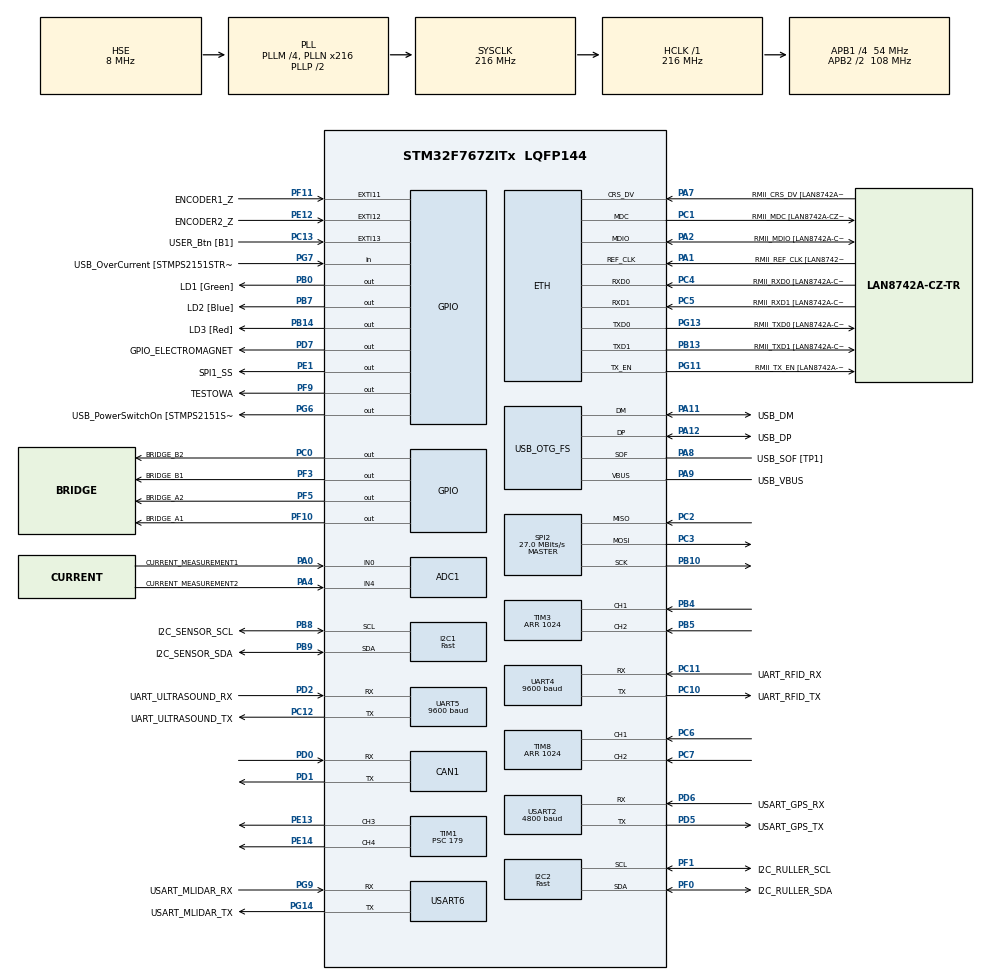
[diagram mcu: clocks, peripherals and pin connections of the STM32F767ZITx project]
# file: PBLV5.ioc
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ADC1.Channel-1\#ChannelRegularConversion=ADC_CHANNEL_0
ADC1.Channel-2\#ChannelRegularConversion=ADC_CHANNEL_4
ADC1.ClockPrescaler=ADC_CLOCK_SYNC_PCLK_DIV8
ADC1.ContinuousConvMode=ENABLE
ADC1.DMAContinuousRequests=ENABLE
ADC1.EnableAnalogWatchDog=false
ADC1.InjNumberOfConversion=0
ADC1.NbrOfConversion=2
ADC1.NbrOfConversionFlag=1
ADC1.Rank-1\#ChannelRegularConversion=1
ADC1.Rank-2\#ChannelRegularConversion=2
ADC1.SamplingTime-1\#ChannelRegularConversion=ADC_SAMPLETIME_480CYCLES
ADC1.SamplingTime-2\#ChannelRegularConversion=ADC_SAMPLETIME_480CYCLES
ADC1.ScanConvMode=ADC_SCAN_ENABLE
ADC1.master=1
CAN1.BS1=CAN_BS1_4TQ
CAN1.BS2=CAN_BS2_2TQ
CAN1.CalculateTimeQuantum=296.2962962962963
Dma.ADC1.4.Direction=DMA_PERIPH_TO_MEMORY
Dma.ADC1.4.FIFOMode=DMA_FIFOMODE_DISABLE
Dma.ADC1.4.Instance=DMA2_Stream4
Dma.ADC1.4.MemDataAlignment=DMA_MDATAALIGN_HALFWORD
Dma.ADC1.4.MemInc=DMA_MINC_ENABLE
Dma.ADC1.4.Mode=DMA_CIRCULAR
Dma.ADC1.4.PeriphDataAlignment=DMA_PDATAALIGN_HALFWORD
Dma.ADC1.4.PeriphInc=DMA_PINC_DISABLE
Dma.ADC1.4.Priority=DMA_PRIORITY_MEDIUM
Dma.Request0=UART4_RX
Dma.Request1=UART5_RX
Dma.Request2=USART2_RX
Dma.Request3=USART6_RX
Dma.Request4=ADC1
Dma.UART4_RX.0.Direction=DMA_PERIPH_TO_MEMORY
Dma.UART4_RX.0.FIFOMode=DMA_FIFOMODE_DISABLE
Dma.UART4_RX.0.Instance=DMA1_Stream2
Dma.UART4_RX.0.MemDataAlignment=DMA_MDATAALIGN_BYTE
Dma.UART4_RX.0.MemInc=DMA_MINC_ENABLE
Dma.UART4_RX.0.Mode=DMA_CIRCULAR
Dma.UART4_RX.0.PeriphDataAlignment=DMA_PDATAALIGN_BYTE
Dma.UART4_RX.0.PeriphInc=DMA_PINC_DISABLE
Dma.UART4_RX.0.Priority=DMA_PRIORITY_LOW
Dma.UART5_RX.1.Direction=DMA_PERIPH_TO_MEMORY
Dma.UART5_RX.1.FIFOMode=DMA_FIFOMODE_DISABLE
Dma.UART5_RX.1.Instance=DMA1_Stream0
Dma.UART5_RX.1.MemDataAlignment=DMA_MDATAALIGN_BYTE
Dma.UART5_RX.1.MemInc=DMA_MINC_ENABLE
Dma.UART5_RX.1.Mode=DMA_CIRCULAR
Dma.UART5_RX.1.PeriphDataAlignment=DMA_PDATAALIGN_BYTE
Dma.UART5_RX.1.PeriphInc=DMA_PINC_DISABLE
Dma.UART5_RX.1.Priority=DMA_PRIORITY_LOW
Dma.USART2_RX.2.Direction=DMA_PERIPH_TO_MEMORY
Dma.USART2_RX.2.FIFOMode=DMA_FIFOMODE_DISABLE
Dma.USART2_RX.2.Instance=DMA1_Stream5
Dma.USART2_RX.2.MemDataAlignment=DMA_MDATAALIGN_BYTE
Dma.USART2_RX.2.MemInc=DMA_MINC_ENABLE
Dma.USART2_RX.2.Mode=DMA_CIRCULAR
Dma.USART2_RX.2.PeriphDataAlignment=DMA_PDATAALIGN_BYTE
Dma.USART2_RX.2.PeriphInc=DMA_PINC_DISABLE
Dma.USART2_RX.2.Priority=DMA_PRIORITY_LOW
Dma.USART6_RX.3.Direction=DMA_PERIPH_TO_MEMORY
Dma.USART6_RX.3.FIFOMode=DMA_FIFOMODE_DISABLE
Dma.USART6_RX.3.Instance=DMA2_Stream1
Dma.USART6_RX.3.MemDataAlignment=DMA_MDATAALIGN_BYTE
Dma.USART6_RX.3.MemInc=DMA_MINC_ENABLE
Dma.USART6_RX.3.Mode=DMA_CIRCULAR
Dma.USART6_RX.3.PeriphDataAlignment=DMA_PDATAALIGN_BYTE
Dma.USART6_RX.3.PeriphInc=DMA_PINC_DISABLE
Dma.USART6_RX.3.Priority=DMA_PRIORITY_LOW
ETH.AutoNegotiation=ETH_AUTONEGOTIATION_ENABLE
ETH.MediaInterface=ETH_MEDIA_INTERFACE_RMII
ETH.PHY_Name=LAN8742A_PHY_ADDRESS
ETH.PHY_Value=0
ETH.PhyAddress=0
I2C1.I2C_Speed_Mode=I2C_Fast
I2C1.Timing=0x6000030D
I2C2.I2C_Speed_Mode=I2C_Fast
I2C2.Timing=0x6000030D
LWIP.GATEWAY_ADDRESS=172.017.010.001
LWIP.IP_ADDRESS=172.017.010.002
LWIP.LWIP_DHCP=0
LWIP.LWIP_NETIF_STATUS_CALLBACK=1
LWIP.MEMP_NUM_PBUF=32
LWIP.MEMP_NUM_TCP_SEG=32
LWIP.MEM_SIZE=48512
LWIP.NETMASK_ADDRESS=255.255.255.000
LWIP.PBUF_POOL_SIZE=32
LWIP.TCP_MSS=1460
LWIP.TCP_WND=5840
LWIP.Version=v2.1.2_Cube
Mcu.Family=STM32F7
Mcu.Name=STM32F767ZITx
Mcu.Package=LQFP144
NVIC.CAN1_RX0_IRQn=true\:0\:0\:false\:false\:true\:true\:true
NVIC.CAN1_TX_IRQn=true\:0\:0\:false\:false\:true\:true\:true
NVIC.DMA1_Stream0_IRQn=true\:0\:0\:false\:false\:true\:false\:true
NVIC.DMA1_Stream2_IRQn=true\:0\:0\:false\:false\:true\:false\:true
NVIC.DMA1_Stream5_IRQn=true\:0\:0\:false\:false\:true\:false\:true
NVIC.DMA2_Stream1_IRQn=true\:0\:0\:false\:false\:true\:false\:true
NVIC.DMA2_Stream4_IRQn=true\:0\:0\:false\:false\:true\:false\:true
NVIC.EXTI15_10_IRQn=true\:0\:0\:false\:false\:true\:true\:true
NVIC.PriorityGroup=NVIC_PRIORITYGROUP_4
NVIC.TIM1_BRK_TIM9_IRQn=true\:0\:0\:false\:false\:true\:true\:true
NVIC.TIM1_TRG_COM_TIM11_IRQn=true\:0\:0\:false\:false\:true\:true\:true
NVIC.TIM1_UP_TIM10_IRQn=true\:0\:0\:false\:false\:true\:true\:true
NVIC.TIM6_DAC_IRQn=true\:0\:0\:false\:false\:true\:true\:true
NVIC.TIM7_IRQn=true\:0\:0\:false\:false\:true\:true\:true
NVIC.TIM8_BRK_TIM12_IRQn=true\:0\:0\:false\:false\:true\:true\:true
NVIC.TIM8_TRG_COM_TIM14_IRQn=true\:0\:0\:false\:false\:true\:true\:true
NVIC.TIM8_UP_TIM13_IRQn=true\:0\:0\:false\:false\:true\:true\:true
NVIC.UART4_IRQn=true\:0\:0\:false\:false\:true\:true\:true
NVIC.UART5_IRQn=true\:0\:0\:false\:false\:true\:true\:true
NVIC.USART2_IRQn=true\:0\:0\:false\:false\:true\:true\:true
NVIC.USART6_IRQn=true\:0\:0\:false\:false\:true\:true\:true
PA0/WKUP.GPIO_Label=CURRENT_MEASUREMENT1
PA0/WKUP.Signal=ADCx_IN0
PA1.GPIO_Label=RMII_REF_CLK [LAN8742A-CZ-TR_REFCLK0]
PA1.GPIO_Speed=GPIO_SPEED_FREQ_VERY_HIGH
PA1.Mode=RMII
PA1.Signal=ETH_REF_CLK
PA10.GPIO_Label=USB_ID
PA10.Signal=USB_OTG_FS_ID
PA11.GPIO_Label=USB_DM
PA11.Mode=Device_Only
PA11.Signal=USB_OTG_FS_DM
PA12.GPIO_Label=USB_DP
PA12.Mode=Device_Only
PA12.Signal=USB_OTG_FS_DP
PA13.GPIO_Label=TMS
PA13.Mode=Trace_Asynchronous_SW
PA13.Signal=SYS_JTMS-SWDIO
PA14.GPIO_Label=TCK
PA14.Mode=Trace_Asynchronous_SW
PA14.Signal=SYS_JTCK-SWCLK
PA2.GPIO_Label=RMII_MDIO [LAN8742A-CZ-TR_MDIO]
PA2.Mode=RMII
PA2.Signal=ETH_MDIO
PA4.GPIO_Label=CURRENT_MEASUREMENT2
PA4.GPIO_PuPd=GPIO_NOPULL
PA4.Signal=ADCx_IN4
PA7.GPIO_Label=RMII_CRS_DV [LAN8742A-CZ-TR_CRS_DV]
PA7.Mode=RMII
PA7.Signal=ETH_CRS_DV
PA8.GPIO_Label=USB_SOF [TP1]
PA8.Mode=Activate_SOF_FS
PA8.Signal=USB_OTG_FS_SOF
PA9.GPIO_Label=USB_VBUS
PA9.Mode=Activate_VBUS
PA9.Signal=USB_OTG_FS_VBUS
PB0.GPIO_Label=LD1 [Green]
PB0.Signal=GPIO_Output
PB10.Mode=Full_Duplex_Master
PB10.Signal=SPI2_SCK
PB13.GPIO_Label=RMII_TXD1 [LAN8742A-CZ-TR_TXD1]
PB13.Mode=RMII
PB13.Signal=ETH_TXD1
PB14.GPIO_Label=LD3 [Red]
PB14.Signal=GPIO_Output
PB3.GPIO_Label=SWO
PB3.Mode=Trace_Asynchronous_SW
PB3.Signal=SYS_JTDO-SWO
PB4.Signal=S_TIM3_CH1
PB5.Signal=S_TIM3_CH2
PB7.GPIO_Label=LD2 [Blue]
PB7.Signal=GPIO_Output
PB8.GPIO_Label=I2C_SENSOR_SCL
PB8.Mode=I2C
PB8.Signal=I2C1_SCL
PB9.GPIO_Label=I2C_SENSOR_SDA
PB9.Mode=I2C
PB9.Signal=I2C1_SDA
PC0.GPIO_Label=BRIDGE_B2
PC0.Signal=GPIO_Output
PC1.GPIO_Label=RMII_MDC [LAN8742A-CZ-TR_MDC]
PC1.Mode=RMII
PC1.Signal=ETH_MDC
PC10.GPIO_Label=UART_RFID_TX
PC10.Mode=Asynchronous
PC10.Signal=UART4_TX
PC11.GPIO_Label=UART_RFID_RX
PC11.Mode=Asynchronous
PC11.Signal=UART4_RX
PC12.GPIO_Label=UART_ULTRASOUND_TX
PC12.Mode=Asynchronous
PC12.Signal=UART5_TX
PC13.GPIO_Label=USER_Btn [B1]
PC13.GPIO_ModeDefaultEXTI=GPIO_MODE_IT_RISING_FALLING
PC13.GPIO_PuPd=GPIO_NOPULL
PC13.Signal=GPXTI13
PC14/OSC32_IN.Signal=RCC_OSC32_IN
PC15/OSC32_OUT.Signal=RCC_OSC32_OUT
PC2.Mode=Full_Duplex_Master
PC2.Signal=SPI2_MISO
PC3.Mode=Full_Duplex_Master
PC3.Signal=SPI2_MOSI
PC4.GPIO_Label=RMII_RXD0 [LAN8742A-CZ-TR_RXD0]
PC4.Mode=RMII
PC4.Signal=ETH_RXD0
PC5.GPIO_Label=RMII_RXD1 [LAN8742A-CZ-TR_RXD1]
PC5.Mode=RMII
PC5.Signal=ETH_RXD1
PC6.Signal=S_TIM8_CH1
PC7.Signal=S_TIM8_CH2
PD0.Mode=Master
PD0.Signal=CAN1_RX
PD1.Mode=Master
PD1.Signal=CAN1_TX
PD2.GPIO_Label=UART_ULTRASOUND_RX
PD2.Mode=Asynchronous
PD2.Signal=UART5_RX
PD5.GPIO_Label=USART_GPS_TX
PD5.Mode=Asynchronous
PD5.Signal=USART2_TX
PD6.GPIO_Label=USART_GPS_RX
PD6.Mode=Asynchronous
PD6.Signal=USART2_RX
PD7.GPIO_Label=GPIO_ELECTROMAGNET
PD7.Signal=GPIO_Output
PD8.GPIO_Label=STLK_RX [STM32F103CBT6_PA3]
PD8.Signal=USART3_TX
PD9.GPIO_Label=STLK_TX [STM32F103CBT6_PA2]
PD9.Signal=USART3_RX
PE1.GPIO_Label=SPI1_SS
PE1.Signal=GPIO_Output
PE12.GPIO_Label=ENCODER2_Z
PE12.GPIO_PuPd=GPIO_PULLUP
PE12.Signal=GPXTI12
PE13.Signal=S_TIM1_CH3
PE14.Signal=S_TIM1_CH4
PF0.GPIO_Label=I2C_RULLER_SDA
PF0.Mode=I2C
PF0.Signal=I2C2_SDA
PF1.GPIO_Label=I2C_RULLER_SCL
PF1.Mode=I2C
PF1.Signal=I2C2_SCL
PF10.GPIO_Label=BRIDGE_A1
PF10.Signal=GPIO_Output
PF11.GPIO_Label=ENCODER1_Z
PF11.GPIO_PuPd=GPIO_PULLUP
PF11.Signal=GPXTI11
PF3.GPIO_Label=BRIDGE_B1
PF3.Signal=GPIO_Output
PF5.GPIO_Label=BRIDGE_A2
PF5.Signal=GPIO_Output
PF9.GPIO_Label=TESTOWA
PF9.GPIO_ModeDefaultOutputPP=GPIO_MODE_OUTPUT_PP
PF9.GPIO_PuPd=GPIO_PULLDOWN
PF9.PinState=GPIO_PIN_RESET
PF9.Signal=GPIO_Output
PG11.GPIO_Label=RMII_TX_EN [LAN8742A-CZ-TR_TXEN]
PG11.Mode=RMII
PG11.Signal=ETH_TX_EN
PG13.GPIO_Label=RMII_TXD0 [LAN8742A-CZ-TR_TXD0]
PG13.Mode=RMII
PG13.Signal=ETH_TXD0
PG14.GPIO_Label=USART_MLIDAR_TX
PG14.Mode=Asynchronous
PG14.Signal=USART6_TX
PG6.GPIO_Label=USB_PowerSwitchOn [STMPS2151STR_EN]
PG6.Signal=GPIO_Output
PG7.GPIO_Label=USB_OverCurrent [STMPS2151STR_FAULT]
PG7.Signal=GPIO_Input
PG9.GPIO_Label=USART_MLIDAR_RX
PG9.Mode=Asynchronous
PG9.Signal=USART6_RX
PH0/OSC_IN.GPIO_Label=MCO [STM32F103CBT6_PA8]
PH0/OSC_IN.Mode=HSE-External-Clock-Source
PH0/OSC_IN.Signal=RCC_OSC_IN
PH1/OSC_OUT.Mode=HSE-External-Clock-Source
PH1/OSC_OUT.Signal=RCC_OSC_OUT
ProjectManager.HeapSize=0x200
ProjectManager.StackSize=0x800
ProjectManager.TargetToolchain=STM32CubeIDE
RCC.48MHZClocksFreq_Value=24000000
RCC.AHBFreq_Value=216000000
RCC.APB1CLKDivider=RCC_HCLK_DIV4
RCC.APB1Freq_Value=54000000
RCC.APB1TimFreq_Value=108000000
RCC.APB2CLKDivider=RCC_HCLK_DIV2
RCC.APB2Freq_Value=108000000
RCC.APB2TimFreq_Value=216000000
RCC.CortexFreq_Value=216000000
RCC.HCLKFreq_Value=216000000
RCC.HSE_VALUE=8000000
RCC.HSI_VALUE=16000000
RCC.LSE_VALUE=32768
RCC.PLLM=4
RCC.PLLMUL=RCC_PLL_MUL9
RCC.PLLN=216
RCC.PLLQ=9
RCC.PRESCALERUSB=RCC_USBCLKSOURCE_PLL_DIV1_5
RCC.SYSCLKFreq_VALUE=216000000
RCC.SYSCLKSource=RCC_SYSCLKSOURCE_PLLCLK
RCC.SYSCLKSourceVirtual=RCC_SYSCLKSOURCE_PLLCLK
RCC.USBFreq_Value=48000000
RCC.VCOOutputFreq_Value=432000000
SH.ADCx_IN0.0=ADC1_IN0,IN0
SH.ADCx_IN4.0=ADC1_IN4,IN4
SH.S_TIM1_CH3.0=TIM1_CH3,PWM Generation3 CH3
SH.S_TIM1_CH4.0=TIM1_CH4,PWM Generation4 CH4
SH.S_TIM3_CH1.0=TIM3_CH1,Encoder_Interface
SH.S_TIM3_CH2.0=TIM3_CH2,Encoder_Interface
SH.S_TIM8_CH1.0=TIM8_CH1,Encoder_Interface
SH.S_TIM8_CH2.0=TIM8_CH2,Encoder_Interface
SPI2.BaudRatePrescaler=SPI_BAUDRATEPRESCALER_2
SPI2.CalculateBaudRate=27.0 MBits/s
SPI2.DataSize=SPI_DATASIZE_8BIT
SPI2.Direction=SPI_DIRECTION_2LINES
SPI2.Mode=SPI_MODE_MASTER
SPI2.VirtualType=VM_MASTER
TIM1.Channel-PWM\ Generation3\ CH3=TIM_CHANNEL_3
TIM1.Channel-PWM\ Generation4\ CH4=TIM_CHANNEL_4
TIM1.Period=1199
TIM1.Prescaler=179
TIM1.Pulse-PWM\ Generation3\ CH3=1500
TIM1.Pulse-PWM\ Generation4\ CH4=1500
TIM10.Period=119
TIM10.Prescaler=17999
TIM11.Period=119
TIM11.Prescaler=17999
TIM12.Period=239
TIM12.Prescaler=8999
TIM13.Period=119
TIM13.Prescaler=8999
TIM14.Period=9999
TIM14.Prescaler=2399
TIM3.EncoderMode=TIM_ENCODERMODE_TI12
TIM3.IC1Filter=15
TIM3.IC1Polarity=TIM_ICPOLARITY_RISING
TIM3.IC2Filter=15
TIM3.IC2Polarity=TIM_ICPOLARITY_RISING
TIM3.Period=1024
TIM6.Period=1199
TIM6.Prescaler=899
TIM7.Period=9999
TIM7.Prescaler=10799
TIM7.TIM_MasterOutputTrigger=TIM_TRGO_RESET
TIM8.EncoderMode=TIM_ENCODERMODE_TI12
TIM8.IC1Filter=15
TIM8.IC1Polarity=TIM_ICPOLARITY_RISING
TIM8.IC2Filter=15
TIM8.IC2Polarity=TIM_ICPOLARITY_RISING
TIM8.Period=1024
TIM9.Period=119
TIM9.Prescaler=17999
UART4.BaudRate=9600
UART4.Mode=MODE_RX
UART5.BaudRate=9600
USART2.BaudRate=4800
USART2.VirtualMode-Asynchronous=VM_ASYNC
USART6.VirtualMode-Asynchronous=VM_ASYNC
USB_OTG_FS.VirtualMode=Device_Only
VP_LWIP_VS_Enabled.Mode=Enabled
VP_TIM10_VS_ClockSourceINT.Mode=Enable_Timer
VP_TIM11_VS_ClockSourceINT.Mode=Enable_Timer
VP_TIM12_VS_ClockSourceINT.Mode=Internal
VP_TIM13_VS_ClockSourceINT.Mode=Enable_Timer
VP_TIM14_VS_ClockSourceINT.Mode=Enable_Timer
VP_TIM1_VS_ClockSourceINT.Mode=Internal
VP_TIM6_VS_ClockSourceINT.Mode=Enable_Timer
VP_TIM7_VS_ClockSourceINT.Mode=Enable_Timer
VP_TIM9_VS_ClockSourceINT.Mode=Internal
board=NUCLEO-F767ZI

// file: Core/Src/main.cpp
/* USER CODE BEGIN Header */
/**
  ******************************************************************************
  * @file           : main.c
  * @brief          : Main program body
  ******************************************************************************
  * @attention
  *
  * <h2><center>&copy; Copyright (c) 2020 STMicroelectronics.
  * All rights reserved.</center></h2>
  *
  * This software component is licensed by ST under BSD 3-Clause license,
  * the "License"; You may not use this file except in compliance with the
  * License. You may obtain a copy of the License at:
  *                        opensource.org/licenses/BSD-3-Clause
  *
  ******************************************************************************
  */
/* USER CODE END Header */
#include "main.h"
#include "lwip.h"

/* USER CODE BEGIN Includes */

#include "EncoderSystem.h"
#include "DrivingSystem.h"
#include "IMUSensor.h"
#include "RulerSensor.h"
#include "DataPtrVolumePair.h"
#include "DataManagement.h"
#include "tcp_server.h"
#include "tcp_client.h"
#include "udp_client.h"
#include "TimerConfigurator.h"
#include "GPSManager.h"
#include "MiniLidarManager.h"
#include "TimeSync.h"
#include "CANLidar.h"
#include "RFIDManager.h"
#include "Electromagnet.h"
#include "TimeMeasurementSystem.h"
#include "UltrasoundManager.h"
#include "CurrentMeasurement.h"
#include "globalDefines.h"

extern "C" void UART_GPS_RX_PROCESSING(void);
extern "C" void UART_LIDAR_RX_PROCESSING(void);
extern "C" void UART_RFID_RX_PROCESSING(void);
extern "C" void UART_ULTRASOUND_RX_PROCESSING(void);

/* USER CODE END Includes */

/* USER CODE BEGIN PD */

#define UDP_CLIENT

/* USER CODE END PD */

ADC_HandleTypeDef hadc1;
DMA_HandleTypeDef hdma_adc1;

CAN_HandleTypeDef hcan1;

I2C_HandleTypeDef hi2c1;
I2C_HandleTypeDef hi2c2;

SPI_HandleTypeDef hspi2;

TIM_HandleTypeDef htim1;
TIM_HandleTypeDef htim3;
TIM_HandleTypeDef htim6;
TIM_HandleTypeDef htim7;
TIM_HandleTypeDef htim8;
TIM_HandleTypeDef htim9;
TIM_HandleTypeDef htim10;
TIM_HandleTypeDef htim11;
TIM_HandleTypeDef htim12;
TIM_HandleTypeDef htim13;
TIM_HandleTypeDef htim14;

UART_HandleTypeDef huart4;
UART_HandleTypeDef huart5;
UART_HandleTypeDef huart2;
UART_HandleTypeDef huart6;
DMA_HandleTypeDef hdma_uart4_rx;
DMA_HandleTypeDef hdma_uart5_rx;
DMA_HandleTypeDef hdma_usart2_rx;
DMA_HandleTypeDef hdma_usart6_rx;

PCD_HandleTypeDef hpcd_USB_OTG_FS;

/* USER CODE BEGIN PV */
EncoderSystem encoderSystem(&htim8, &htim3, ENCODER2_Z_Pin, ENCODER1_Z_Pin);
DrivingSystem drivingSystem(&htim1, TIM_CHANNEL_4, &htim1, TIM_CHANNEL_3);
IMUSensor imuSensors(IMU_NUM_OF_ELEM);
RulerSensor rulerSensors(RULER_SENSORS_COUNT);
DataManagement dataManagement;
TimerConfigurator timerConfig(&htim6, &htim9, &htim7);
GPSManager gpsManager(&hdma_usart2_rx);
MiniLidarManager miniLidarManager(&hdma_usart6_rx);
TimeSync timeSync;
CANLidar canLidar(&hcan1);
RFIDManager rfidManager(&hdma_uart4_rx);
Electromagnet electromagnet;
TimeMeasurementSystem timMeasureSystem(&htim14);
UltrasoundManager ultrasoundManager(&hdma_uart5_rx, &huart5);
CurrentMeasurement currentMeasurement(&hadc1, &hdma_adc1);

int16_t diffZOne = 0;
int16_t diffZTwo = 0;

int16_t diffZOneTimerValue = 0;
int16_t diffZTwoTimerValue = 0;

std::map<uint8_t, DataPtrVolumePair> dataPtrMap =
    {
        {ID_PWM, DataPtrVolumePair{1, SIZE_GET_PWM, std::bind(&DrivingSystem::getDataInArray, &drivingSystem, std::placeholders::_1)}},
        {ID_TIM, DataPtrVolumePair{1, SIZE_GET_TIM, std::bind(&TimerConfigurator::getDataInArray, &timerConfig, std::placeholders::_1)}},
        {ID_ACC, DataPtrVolumePair{IMU_NUM_OF_ELEM, SIZE_GET_ACC, std::bind(&IMUSensor::getAccData, &imuSensors, std::placeholders::_1)}},
        {ID_GYRO, DataPtrVolumePair{IMU_NUM_OF_ELEM, SIZE_GET_GYRO, std::bind(&IMUSensor::getGyroData, &imuSensors, std::placeholders::_1)}},
        {ID_MAG, DataPtrVolumePair{IMU_NUM_OF_ELEM, SIZE_GET_MAG, std::bind(&IMUSensor::getMagData, &imuSensors, std::placeholders::_1)}},
        {ID_RULER, DataPtrVolumePair{1, RULER_SENSORS_COUNT, std::bind(&RulerSensor::getPololuData, &rulerSensors, std::placeholders::_1)}},
        {ID_CURRENT, DataPtrVolumePair{CURRENT_NUM_OF_ELEM, SIZE_GET_CURRENT, std::bind(&CurrentMeasurement::getCurrentData, &currentMeasurement, std::placeholders::_1)}},
        {ID_ENCODER, DataPtrVolumePair{1, SIZE_GET_ENCODER, std::bind(&EncoderSystem::getDataInArray, &encoderSystem, std::placeholders::_1)}},
        {ID_GPS, DataPtrVolumePair{1, SIZE_GET_GPS, std::bind(&GPSManager::getDataInArray, &gpsManager, std::placeholders::_1)}},
        {ID_MINI_LIDAR, DataPtrVolumePair{1, SIZE_GET_MINI_LIDAR, std::bind(&MiniLidarManager::getDataInArray, &miniLidarManager, std::placeholders::_1)}},
        {ID_CAN_DIST, DataPtrVolumePair{1, SIZE_CAN_DIST, std::bind(&CANLidar::getDistanceDataInArray, &canLidar, std::placeholders::_1)}},
        {ID_CAN_SPEED, DataPtrVolumePair{1, SIZE_CAN_SPEED, std::bind(&CANLidar::getSpeedDataInArray, &canLidar, std::placeholders::_1)}},
        {ID_CAN_REFLE, DataPtrVolumePair{1, SIZE_CAN_REFLE, std::bind(&CANLidar::getReflectionDataInArray, &canLidar, std::placeholders::_1)}},
        {ID_RFID, DataPtrVolumePair{1, SIZE_RFID, std::bind(&RFIDManager::getDataInArray, &rfidManager, std::placeholders::_1)}},
        {ID_ULTRASOUND, DataPtrVolumePair{1, SIZE_GET_ULTRASOUND, std::bind(&UltrasoundManager::getDataInArray, &ultrasoundManager, std::placeholders::_1)}},
        {ID_TIM_MEASURE, DataPtrVolumePair{1, SIZE_GET_TIME_MEASURE, std::bind(&TimeMeasurementSystem::getDataInArray, &timMeasureSystem, std::placeholders::_1)}},
        {ID_PACKETS_INFO, DataPtrVolumePair{1, SIZE_GET_PACKETS_INFO, std::bind(&DataManagement::getPacketsInfo, &dataManagement, std::placeholders::_1)}},
        {ID_TIME_SYNC, DataPtrVolumePair{1, SIZE_GET_TIME_SYNC, std::bind(&TimeSync::getDataInArray, &timeSync, std::placeholders::_1)}}
    };
/* USER CODE END PV */

void SystemClock_Config(void);
static void MX_GPIO_Init(void);
static void MX_DMA_Init(void);
static void MX_TIM6_Init(void);
static void MX_TIM7_Init(void);
static void MX_TIM9_Init(void);
static void MX_TIM10_Init(void);
static void MX_TIM11_Init(void);
static void MX_CAN1_Init(void);
static void MX_I2C1_Init(void);
static void MX_SPI2_Init(void);
static void MX_TIM1_Init(void);
static void MX_TIM3_Init(void);
static void MX_TIM8_Init(void);
static void MX_TIM12_Init(void);
static void MX_TIM13_Init(void);
static void MX_TIM14_Init(void);
static void MX_UART4_Init(void);
static void MX_UART5_Init(void);
static void MX_USART2_UART_Init(void);
static void MX_USART6_UART_Init(void);
static void MX_USB_OTG_FS_PCD_Init(void);
static void MX_ADC1_Init(void);
static void MX_I2C2_Init(void);

/* USER CODE BEGIN 0 */

int _write(int file, char *ptr, int len)
{
  for (int i = 0; i < len; i++)
  {
    ITM_SendChar(*ptr++);
  }
  return len;
}

void HAL_TIM_PeriodElapsedCallback(TIM_HandleTypeDef *htim)
{
  if (htim->Instance == TIM7)
  {
    HAL_GPIO_TogglePin(LD2_GPIO_Port, LD2_Pin);
  }
  if (htim->Instance == TIM6)
  {
    timMeasureSystem.takeTS(0);
    imuSensors.pullDataFromSensorsI2C(&hi2c1);
    timMeasureSystem.calculateElapsedTime(0);

    rulerSensors.pullDataFromSensorsI2C(&hi2c2);
  }
  if (htim->Instance == TIM9)
  {
    timMeasureSystem.takeTS(1);

    uint16_t dataLength;
    std::unique_ptr<uint8_t[]> dataBuffer = std::make_unique<uint8_t[]>(dataManagement.getMaxDataSize());

    dataLength = dataManagement.getCollectedData(dataBuffer.get());

#ifdef UDP_CLIENT
    udp_client_send(dataBuffer.get(), dataLength);
#else
    sendDataWhileConnected(dataBuffer.get(), dataLength);
#endif

    timMeasureSystem.calculateElapsedTime(1);
  }
  if (htim->Instance == TIM10)
  {
    timMeasureSystem.takeTS(2);

    encoderSystem.encoderService();

    timMeasureSystem.calculateElapsedTime(2);
  }

  if (htim->Instance == TIM11)
  {
    timMeasureSystem.takeTS(3);

    drivingSystem.drivingService();

//
//    rulerSensors.pullDataFromSensorsI2C(&hi2c2);

    timMeasureSystem.calculateElapsedTime(3);
  }

  if (htim->Instance == TIM13)
  {
//    timMeasureSystem.takeTS(4);
//
////    canLidar.scheduleADASFrames();
//
//    timMeasureSystem.calculateElapsedTime(4);
  }

  if (htim->Instance == TIM12)
  {
//    timMeasureSystem.takeTS(5);
//
////    ultrasoundManager.fetchDistanceData();
//    rulerSensors.pullDataFromSensorsI2C(&hi2c2);
//    timMeasureSystem.takeTS(5);
  }

  if (htim->Instance == TIM14)
  {

    if (diffZOneTimerValue > 0)
    {
      //HAL_GPIO_TogglePin(LD1_GPIO_Port, LD1_Pin);
      diffZOneTimerValue--;
    }

    if (diffZTwoTimerValue > 0)
    {
      //HAL_GPIO_TogglePin(LD3_GPIO_Port, LD3_Pin);
      diffZTwoTimerValue--;
    }
  }
}

void UART_GPS_RX_PROCESSING(void)
{
  gpsManager.processRxData();
}

void UART_LIDAR_RX_PROCESSING()
{
  miniLidarManager.processRxData();
}

void UART_RFID_RX_PROCESSING(void)
{
  rfidManager.processRxData();
}

void UART_ULTRASOUND_RX_PROCESSING(void)
{
  ultrasoundManager.processRxData();
}

void HAL_UART_RxHalfCpltCallback(UART_HandleTypeDef *huart)
{
  if (huart->Instance == USART6)
  {
    miniLidarManager.processRxData();
  }

  if (huart->Instance == UART5)
  {
    ultrasoundManager.processRxData();
  }

  if (huart->Instance == USART2)
  {
    gpsManager.processRxData();
  }

  if (huart->Instance == UART4)
  {
    rfidManager.processRxData();
  }
}

void HAL_UART_RxCpltCallback(UART_HandleTypeDef *huart)
{
  if (huart->Instance == USART6)
  {
    miniLidarManager.processRxData();
  }

  if (huart->Instance == UART5)
  {
    ultrasoundManager.processRxData();
  }

  if (huart->Instance == USART2)
  {
    gpsManager.processRxData();
  }

  if (huart->Instance == UART4)
  {
    rfidManager.processRxData();
  }
}

void HAL_CAN_TxMailbox0CompleteCallback(CAN_HandleTypeDef *hcan)
{
  canLidar.sendCANFrames();
}

void HAL_CAN_TxMailbox1CompleteCallback(CAN_HandleTypeDef *hcan)
{
  canLidar.sendCANFrames();
}

void HAL_CAN_TxMailbox2CompleteCallback(CAN_HandleTypeDef *hcan)
{
  canLidar.sendCANFrames();
}

void HAL_CAN_RxFifo0MsgPendingCallback(CAN_HandleTypeDef *hcan)
{
  canLidar.processRXData(CAN_RX_FIFO0);
}

void HAL_CAN_RxFifo1MsgPendingCallback(CAN_HandleTypeDef *hcan)
{
  canLidar.processRXData(CAN_RX_FIFO1);
}
uint8_t imu[4];

void HAL_GPIO_EXTI_Callback(uint16_t GPIO_Pin)
{
  //encoderSystem.checkError(&GPIO_Pin);
}

/* USER CODE END 0 */

int main(void)
{

  /* MCU Configuration--------------------------------------------------------*/

  /* Reset of all peripherals, Initializes the Flash interface and the Systick. */
  HAL_Init();

  /* Configure the system clock */
  SystemClock_Config();

  /* Initialize all configured peripherals */
  MX_GPIO_Init();
  MX_DMA_Init();
  MX_TIM6_Init();
  MX_TIM7_Init();
  MX_TIM9_Init();
  MX_TIM10_Init();
  MX_TIM11_Init();
  MX_LWIP_Init();
  MX_CAN1_Init();
  MX_I2C1_Init();
  MX_SPI2_Init();
  MX_TIM1_Init();
  MX_TIM3_Init();
  MX_TIM8_Init();
  MX_TIM12_Init();
  MX_TIM13_Init();
  MX_TIM14_Init();
  MX_UART4_Init();
  MX_UART5_Init();
  MX_USART2_UART_Init();
  MX_USART6_UART_Init();
  MX_USB_OTG_FS_PCD_Init();
  MX_ADC1_Init();
  MX_I2C2_Init();
  /* USER CODE BEGIN 2 */

  HAL_ADC_Start_DMA(&hadc1, (uint32_t *)currentMeasurement.dataBuff, ADC_BUF_LEN);

  canLidar.configureCAN();

  HAL_UART_Receive_DMA(&huart2, gpsManager.getDataBuffer(), gpsManager.getBufferLength());
  HAL_UART_Receive_DMA(&huart6, miniLidarManager.getDataBuffer(), miniLidarManager.getBufferLength());
  HAL_UART_Receive_DMA(&huart4, rfidManager.getDataBuffer(), rfidManager.getBufferLength());
  HAL_UART_Receive_DMA(&huart5, ultrasoundManager.getDataBuffer(), ultrasoundManager.getBufferLength());

  HAL_I2C_Init(&hi2c1);
  HAL_I2C_Init(&hi2c2);
  imuSensors.initializeI2C_Sensors(&hi2c1);
  rulerSensors.initializeI2C_Sensors(&hi2c2);

  currentMeasurement.init();
  drivingSystem.initialize();

  dataManagement.configure(&dataPtrMap);
  tcp_server_init();

#ifdef UDP_CLIENT
  udp_client_connect();
#endif

  HAL_TIM_Base_Start(&htim14);
  HAL_TIM_Base_Start_IT(&htim6);
  HAL_TIM_Base_Start_IT(&htim7);
  HAL_TIM_Encoder_Start(&htim8, TIM_CHANNEL_ALL);
  HAL_TIM_Encoder_Start(&htim3, TIM_CHANNEL_ALL);
  HAL_TIM_Base_Start_IT(&htim10);
  HAL_CAN_Start(&hcan1);
  HAL_TIM_Base_Start_IT(&htim13);
  HAL_TIM_Base_Start(&htim12);
  HAL_TIM_Base_Start_IT(&htim9);
  HAL_TIM_PWM_Start(&htim1, TIM_CHANNEL_3);
  HAL_TIM_PWM_Start(&htim1, TIM_CHANNEL_4);
  HAL_TIM_Base_Start_IT(&htim11);

  /* USER CODE END 2 */

  /* Infinite loop */
  /* USER CODE BEGIN WHILE */
  while (1)
  {
    MX_LWIP_Process();

    /* USER CODE END WHILE */

  }
}

void SystemClock_Config(void)
{
  RCC_OscInitTypeDef RCC_OscInitStruct = {0};
  RCC_ClkInitTypeDef RCC_ClkInitStruct = {0};
  RCC_PeriphCLKInitTypeDef PeriphClkInitStruct = {0};

  /** Configure the main internal regulator output voltage
  */
  __HAL_RCC_PWR_CLK_ENABLE();
  __HAL_PWR_VOLTAGESCALING_CONFIG(PWR_REGULATOR_VOLTAGE_SCALE1);
  /** Initializes the RCC Oscillators according to the specified parameters
  * in the RCC_OscInitTypeDef structure.
  */
  RCC_OscInitStruct.OscillatorType = RCC_OSCILLATORTYPE_HSE;
  RCC_OscInitStruct.HSEState = RCC_HSE_BYPASS;
  RCC_OscInitStruct.PLL.PLLState = RCC_PLL_ON;
  RCC_OscInitStruct.PLL.PLLSource = RCC_PLLSOURCE_HSE;
  RCC_OscInitStruct.PLL.PLLM = 4;
  RCC_OscInitStruct.PLL.PLLN = 216;
  RCC_OscInitStruct.PLL.PLLP = RCC_PLLP_DIV2;
  RCC_OscInitStruct.PLL.PLLQ = 9;
  if (HAL_RCC_OscConfig(&RCC_OscInitStruct) != HAL_OK)
  {
    Error_Handler();
  }
  /** Activate the Over-Drive mode
  */
  if (HAL_PWREx_EnableOverDrive() != HAL_OK)
  {
    Error_Handler();
  }
  /** Initializes the CPU, AHB and APB buses clocks
  */
  RCC_ClkInitStruct.ClockType = RCC_CLOCKTYPE_HCLK | RCC_CLOCKTYPE_SYSCLK | RCC_CLOCKTYPE_PCLK1 | RCC_CLOCKTYPE_PCLK2;
  RCC_ClkInitStruct.SYSCLKSource = RCC_SYSCLKSOURCE_PLLCLK;
  RCC_ClkInitStruct.AHBCLKDivider = RCC_SYSCLK_DIV1;
  RCC_ClkInitStruct.APB1CLKDivider = RCC_HCLK_DIV4;
  RCC_ClkInitStruct.APB2CLKDivider = RCC_HCLK_DIV2;

  if (HAL_RCC_ClockConfig(&RCC_ClkInitStruct, FLASH_LATENCY_7) != HAL_OK)
  {
    Error_Handler();
  }
  PeriphClkInitStruct.PeriphClockSelection = RCC_PERIPHCLK_USART2 | RCC_PERIPHCLK_USART6 | RCC_PERIPHCLK_UART4 | RCC_PERIPHCLK_UART5 | RCC_PERIPHCLK_I2C1 | RCC_PERIPHCLK_I2C2 | RCC_PERIPHCLK_CLK48;
  PeriphClkInitStruct.Usart2ClockSelection = RCC_USART2CLKSOURCE_PCLK1;
  PeriphClkInitStruct.Uart4ClockSelection = RCC_UART4CLKSOURCE_PCLK1;
  PeriphClkInitStruct.Uart5ClockSelection = RCC_UART5CLKSOURCE_PCLK1;
  PeriphClkInitStruct.Usart6ClockSelection = RCC_USART6CLKSOURCE_PCLK2;
  PeriphClkInitStruct.I2c1ClockSelection = RCC_I2C1CLKSOURCE_PCLK1;
  PeriphClkInitStruct.I2c2ClockSelection = RCC_I2C2CLKSOURCE_PCLK1;
  PeriphClkInitStruct.Clk48ClockSelection = RCC_CLK48SOURCE_PLL;
  if (HAL_RCCEx_PeriphCLKConfig(&PeriphClkInitStruct) != HAL_OK)
  {
    Error_Handler();
  }
}

static void MX_ADC1_Init(void)
{

  ADC_ChannelConfTypeDef sConfig = {0};

  /** Configure the global features of the ADC (Clock, Resolution, Data Alignment and number of conversion)
  */
  hadc1.Instance = ADC1;
  hadc1.Init.ClockPrescaler = ADC_CLOCK_SYNC_PCLK_DIV8;
  hadc1.Init.Resolution = ADC_RESOLUTION_12B;
  hadc1.Init.ScanConvMode = ADC_SCAN_ENABLE;
  hadc1.Init.ContinuousConvMode = ENABLE;
  hadc1.Init.DiscontinuousConvMode = DISABLE;
  hadc1.Init.ExternalTrigConvEdge = ADC_EXTERNALTRIGCONVEDGE_NONE;
  hadc1.Init.ExternalTrigConv = ADC_SOFTWARE_START;
  hadc1.Init.DataAlign = ADC_DATAALIGN_RIGHT;
  hadc1.Init.NbrOfConversion = 2;
  hadc1.Init.DMAContinuousRequests = ENABLE;
  hadc1.Init.EOCSelection = ADC_EOC_SINGLE_CONV;
  if (HAL_ADC_Init(&hadc1) != HAL_OK)
  {
    Error_Handler();
  }
  /** Configure for the selected ADC regular channel its corresponding rank in the sequencer and its sample time.
  */
  sConfig.Channel = ADC_CHANNEL_0;
  sConfig.Rank = ADC_REGULAR_RANK_1;
  sConfig.SamplingTime = ADC_SAMPLETIME_480CYCLES;
  if (HAL_ADC_ConfigChannel(&hadc1, &sConfig) != HAL_OK)
  {
    Error_Handler();
  }
  /** Configure for the selected ADC regular channel its corresponding rank in the sequencer and its sample time.
  */
  sConfig.Channel = ADC_CHANNEL_4;
  sConfig.Rank = ADC_REGULAR_RANK_2;
  if (HAL_ADC_ConfigChannel(&hadc1, &sConfig) != HAL_OK)
  {
    Error_Handler();
  }
}

static void MX_CAN1_Init(void)
{

  hcan1.Instance = CAN1;
  hcan1.Init.Prescaler = 16;
  hcan1.Init.Mode = CAN_MODE_NORMAL;
  hcan1.Init.SyncJumpWidth = CAN_SJW_1TQ;
  hcan1.Init.TimeSeg1 = CAN_BS1_4TQ;
  hcan1.Init.TimeSeg2 = CAN_BS2_2TQ;
  hcan1.Init.TimeTriggeredMode = DISABLE;
  hcan1.Init.AutoBusOff = DISABLE;
  hcan1.Init.AutoWakeUp = DISABLE;
  hcan1.Init.AutoRetransmission = DISABLE;
  hcan1.Init.ReceiveFifoLocked = DISABLE;
  hcan1.Init.TransmitFifoPriority = DISABLE;
  if (HAL_CAN_Init(&hcan1) != HAL_OK)
  {
    Error_Handler();
  }
}

static void MX_I2C1_Init(void)
{

  hi2c1.Instance = I2C1;
  hi2c1.Init.Timing = 0x6000030D;
  hi2c1.Init.OwnAddress1 = 0;
  hi2c1.Init.AddressingMode = I2C_ADDRESSINGMODE_7BIT;
  hi2c1.Init.DualAddressMode = I2C_DUALADDRESS_DISABLE;
  hi2c1.Init.OwnAddress2 = 0;
  hi2c1.Init.OwnAddress2Masks = I2C_OA2_NOMASK;
  hi2c1.Init.GeneralCallMode = I2C_GENERALCALL_DISABLE;
  hi2c1.Init.NoStretchMode = I2C_NOSTRETCH_DISABLE;
  if (HAL_I2C_Init(&hi2c1) != HAL_OK)
  {
    Error_Handler();
  }
  /** Configure Analogue filter
  */
  if (HAL_I2CEx_ConfigAnalogFilter(&hi2c1, I2C_ANALOGFILTER_ENABLE) != HAL_OK)
  {
    Error_Handler();
  }
  /** Configure Digital filter
  */
  if (HAL_I2CEx_ConfigDigitalFilter(&hi2c1, 0) != HAL_OK)
  {
    Error_Handler();
  }
}

static void MX_I2C2_Init(void)
{

  hi2c2.Instance = I2C2;
  hi2c2.Init.Timing = 0x6000030D;
  hi2c2.Init.OwnAddress1 = 0;
  hi2c2.Init.AddressingMode = I2C_ADDRESSINGMODE_7BIT;
  hi2c2.Init.DualAddressMode = I2C_DUALADDRESS_DISABLE;
  hi2c2.Init.OwnAddress2 = 0;
  hi2c2.Init.OwnAddress2Masks = I2C_OA2_NOMASK;
  hi2c2.Init.GeneralCallMode = I2C_GENERALCALL_DISABLE;
  hi2c2.Init.NoStretchMode = I2C_NOSTRETCH_DISABLE;
  if (HAL_I2C_Init(&hi2c2) != HAL_OK)
  {
    Error_Handler();
  }
  /** Configure Analogue filter
  */
  if (HAL_I2CEx_ConfigAnalogFilter(&hi2c2, I2C_ANALOGFILTER_ENABLE) != HAL_OK)
  {
    Error_Handler();
  }
  /** Configure Digital filter
  */
  if (HAL_I2CEx_ConfigDigitalFilter(&hi2c2, 0) != HAL_OK)
  {
    Error_Handler();
  }
}

static void MX_SPI2_Init(void)
{

  /* SPI2 parameter configuration*/
  hspi2.Instance = SPI2;
  hspi2.Init.Mode = SPI_MODE_MASTER;
  hspi2.Init.Direction = SPI_DIRECTION_2LINES;
  hspi2.Init.DataSize = SPI_DATASIZE_8BIT;
  hspi2.Init.CLKPolarity = SPI_POLARITY_LOW;
  hspi2.Init.CLKPhase = SPI_PHASE_1EDGE;
  hspi2.Init.NSS = SPI_NSS_SOFT;
  hspi2.Init.BaudRatePrescaler = SPI_BAUDRATEPRESCALER_2;
  hspi2.Init.FirstBit = SPI_FIRSTBIT_MSB;
  hspi2.Init.TIMode = SPI_TIMODE_DISABLE;
  hspi2.Init.CRCCalculation = SPI_CRCCALCULATION_DISABLE;
  hspi2.Init.CRCPolynomial = 7;
  hspi2.Init.CRCLength = SPI_CRC_LENGTH_DATASIZE;
  hspi2.Init.NSSPMode = SPI_NSS_PULSE_ENABLE;
  if (HAL_SPI_Init(&hspi2) != HAL_OK)
  {
    Error_Handler();
  }
}

static void MX_TIM1_Init(void)
{

  TIM_ClockConfigTypeDef sClockSourceConfig = {0};
  TIM_MasterConfigTypeDef sMasterConfig = {0};
  TIM_OC_InitTypeDef sConfigOC = {0};
  TIM_BreakDeadTimeConfigTypeDef sBreakDeadTimeConfig = {0};

  htim1.Instance = TIM1;
  htim1.Init.Prescaler = 179;
  htim1.Init.CounterMode = TIM_COUNTERMODE_UP;
  htim1.Init.Period = 1199;
  htim1.Init.ClockDivision = TIM_CLOCKDIVISION_DIV1;
  htim1.Init.RepetitionCounter = 0;
  htim1.Init.AutoReloadPreload = TIM_AUTORELOAD_PRELOAD_DISABLE;
  if (HAL_TIM_Base_Init(&htim1) != HAL_OK)
  {
    Error_Handler();
  }
  sClockSourceConfig.ClockSource = TIM_CLOCKSOURCE_INTERNAL;
  if (HAL_TIM_ConfigClockSource(&htim1, &sClockSourceConfig) != HAL_OK)
  {
    Error_Handler();
  }
  if (HAL_TIM_PWM_Init(&htim1) != HAL_OK)
  {
    Error_Handler();
  }
  sMasterConfig.MasterOutputTrigger = TIM_TRGO_RESET;
  sMasterConfig.MasterOutputTrigger2 = TIM_TRGO2_RESET;
  sMasterConfig.MasterSlaveMode = TIM_MASTERSLAVEMODE_DISABLE;
  if (HAL_TIMEx_MasterConfigSynchronization(&htim1, &sMasterConfig) != HAL_OK)
  {
    Error_Handler();
  }
  sConfigOC.OCMode = TIM_OCMODE_PWM1;
  sConfigOC.Pulse = 1500;
  sConfigOC.OCPolarity = TIM_OCPOLARITY_HIGH;
  sConfigOC.OCNPolarity = TIM_OCNPOLARITY_HIGH;
  sConfigOC.OCFastMode = TIM_OCFAST_DISABLE;
  sConfigOC.OCIdleState = TIM_OCIDLESTATE_RESET;
  sConfigOC.OCNIdleState = TIM_OCNIDLESTATE_RESET;
  if (HAL_TIM_PWM_ConfigChannel(&htim1, &sConfigOC, TIM_CHANNEL_3) != HAL_OK)
  {
    Error_Handler();
  }
  if (HAL_TIM_PWM_ConfigChannel(&htim1, &sConfigOC, TIM_CHANNEL_4) != HAL_OK)
  {
    Error_Handler();
  }
  sBreakDeadTimeConfig.OffStateRunMode = TIM_OSSR_DISABLE;
  sBreakDeadTimeConfig.OffStateIDLEMode = TIM_OSSI_DISABLE;
  sBreakDeadTimeConfig.LockLevel = TIM_LOCKLEVEL_OFF;
  sBreakDeadTimeConfig.DeadTime = 0;
  sBreakDeadTimeConfig.BreakState = TIM_BREAK_DISABLE;
  sBreakDeadTimeConfig.BreakPolarity = TIM_BREAKPOLARITY_HIGH;
  sBreakDeadTimeConfig.BreakFilter = 0;
  sBreakDeadTimeConfig.Break2State = TIM_BREAK2_DISABLE;
  sBreakDeadTimeConfig.Break2Polarity = TIM_BREAK2POLARITY_HIGH;
  sBreakDeadTimeConfig.Break2Filter = 0;
  sBreakDeadTimeConfig.AutomaticOutput = TIM_AUTOMATICOUTPUT_DISABLE;
  if (HAL_TIMEx_ConfigBreakDeadTime(&htim1, &sBreakDeadTimeConfig) != HAL_OK)
  {
    Error_Handler();
  }
  HAL_TIM_MspPostInit(&htim1);
}

static void MX_TIM3_Init(void)
{

  TIM_Encoder_InitTypeDef sConfig = {0};
  TIM_MasterConfigTypeDef sMasterConfig = {0};

  htim3.Instance = TIM3;
  htim3.Init.Prescaler = 0;
  htim3.Init.CounterMode = TIM_COUNTERMODE_UP;
  htim3.Init.Period = 1024;
  htim3.Init.ClockDivision = TIM_CLOCKDIVISION_DIV1;
  htim3.Init.AutoReloadPreload = TIM_AUTORELOAD_PRELOAD_DISABLE;
  sConfig.EncoderMode = TIM_ENCODERMODE_TI12;
  sConfig.IC1Polarity = TIM_ICPOLARITY_RISING;
  sConfig.IC1Selection = TIM_ICSELECTION_DIRECTTI;
  sConfig.IC1Prescaler = TIM_ICPSC_DIV1;
  sConfig.IC1Filter = 15;
  sConfig.IC2Polarity = TIM_ICPOLARITY_RISING;
  sConfig.IC2Selection = TIM_ICSELECTION_DIRECTTI;
  sConfig.IC2Prescaler = TIM_ICPSC_DIV1;
  sConfig.IC2Filter = 15;
  if (HAL_TIM_Encoder_Init(&htim3, &sConfig) != HAL_OK)
  {
    Error_Handler();
  }
  sMasterConfig.MasterOutputTrigger = TIM_TRGO_RESET;
  sMasterConfig.MasterSlaveMode = TIM_MASTERSLAVEMODE_DISABLE;
  if (HAL_TIMEx_MasterConfigSynchronization(&htim3, &sMasterConfig) != HAL_OK)
  {
    Error_Handler();
  }
}

static void MX_TIM6_Init(void)
{

  TIM_MasterConfigTypeDef sMasterConfig = {0};

  htim6.Instance = TIM6;
  htim6.Init.Prescaler = 899;
  htim6.Init.CounterMode = TIM_COUNTERMODE_UP;
  htim6.Init.Period = 1199;
  htim6.Init.AutoReloadPreload = TIM_AUTORELOAD_PRELOAD_DISABLE;
  if (HAL_TIM_Base_Init(&htim6) != HAL_OK)
  {
    Error_Handler();
  }
  sMasterConfig.MasterOutputTrigger = TIM_TRGO_RESET;
  sMasterConfig.MasterSlaveMode = TIM_MASTERSLAVEMODE_DISABLE;
  if (HAL_TIMEx_MasterConfigSynchronization(&htim6, &sMasterConfig) != HAL_OK)
  {
    Error_Handler();
  }
}

static void MX_TIM7_Init(void)
{

  TIM_MasterConfigTypeDef sMasterConfig = {0};

  htim7.Instance = TIM7;
  htim7.Init.Prescaler = 10799;
  htim7.Init.CounterMode = TIM_COUNTERMODE_UP;
  htim7.Init.Period = 9999;
  htim7.Init.AutoReloadPreload = TIM_AUTORELOAD_PRELOAD_DISABLE;
  if (HAL_TIM_Base_Init(&htim7) != HAL_OK)
  {
    Error_Handler();
  }
  sMasterConfig.MasterOutputTrigger = TIM_TRGO_RESET;
  sMasterConfig.MasterSlaveMode = TIM_MASTERSLAVEMODE_DISABLE;
  if (HAL_TIMEx_MasterConfigSynchronization(&htim7, &sMasterConfig) != HAL_OK)
  {
    Error_Handler();
  }
}

static void MX_TIM8_Init(void)
{

  TIM_Encoder_InitTypeDef sConfig = {0};
  TIM_MasterConfigTypeDef sMasterConfig = {0};

  htim8.Instance = TIM8;
  htim8.Init.Prescaler = 0;
  htim8.Init.CounterMode = TIM_COUNTERMODE_UP;
  htim8.Init.Period = 1024;
  htim8.Init.ClockDivision = TIM_CLOCKDIVISION_DIV1;
  htim8.Init.RepetitionCounter = 0;
  htim8.Init.AutoReloadPreload = TIM_AUTORELOAD_PRELOAD_DISABLE;
  sConfig.EncoderMode = TIM_ENCODERMODE_TI12;
  sConfig.IC1Polarity = TIM_ICPOLARITY_RISING;
  sConfig.IC1Selection = TIM_ICSELECTION_DIRECTTI;
  sConfig.IC1Prescaler = TIM_ICPSC_DIV1;
  sConfig.IC1Filter = 15;
  sConfig.IC2Polarity = TIM_ICPOLARITY_RISING;
  sConfig.IC2Selection = TIM_ICSELECTION_DIRECTTI;
  sConfig.IC2Prescaler = TIM_ICPSC_DIV1;
  sConfig.IC2Filter = 15;
  if (HAL_TIM_Encoder_Init(&htim8, &sConfig) != HAL_OK)
  {
    Error_Handler();
  }
  sMasterConfig.MasterOutputTrigger = TIM_TRGO_RESET;
  sMasterConfig.MasterOutputTrigger2 = TIM_TRGO2_RESET;
  sMasterConfig.MasterSlaveMode = TIM_MASTERSLAVEMODE_DISABLE;
  if (HAL_TIMEx_MasterConfigSynchronization(&htim8, &sMasterConfig) != HAL_OK)
  {
    Error_Handler();
  }
}

static void MX_TIM9_Init(void)
{

  TIM_ClockConfigTypeDef sClockSourceConfig = {0};

  htim9.Instance = TIM9;
  htim9.Init.Prescaler = 17999;
  htim9.Init.CounterMode = TIM_COUNTERMODE_UP;
  htim9.Init.Period = 119;
  htim9.Init.ClockDivision = TIM_CLOCKDIVISION_DIV1;
  htim9.Init.AutoReloadPreload = TIM_AUTORELOAD_PRELOAD_DISABLE;
  if (HAL_TIM_Base_Init(&htim9) != HAL_OK)
  {
    Error_Handler();
  }
  sClockSourceConfig.ClockSource = TIM_CLOCKSOURCE_INTERNAL;
  if (HAL_TIM_ConfigClockSource(&htim9, &sClockSourceConfig) != HAL_OK)
  {
    Error_Handler();
  }
}

static void MX_TIM10_Init(void)
{

  htim10.Instance = TIM10;
  htim10.Init.Prescaler = 17999;
  htim10.Init.CounterMode = TIM_COUNTERMODE_UP;
  htim10.Init.Period = 119;
  htim10.Init.ClockDivision = TIM_CLOCKDIVISION_DIV1;
  htim10.Init.AutoReloadPreload = TIM_AUTORELOAD_PRELOAD_DISABLE;
  if (HAL_TIM_Base_Init(&htim10) != HAL_OK)
  {
    Error_Handler();
  }
}

static void MX_TIM11_Init(void)
{

  htim11.Instance = TIM11;
  htim11.Init.Prescaler = 17999;
  htim11.Init.CounterMode = TIM_COUNTERMODE_UP;
  htim11.Init.Period = 119;
  htim11.Init.ClockDivision = TIM_CLOCKDIVISION_DIV1;
  htim11.Init.AutoReloadPreload = TIM_AUTORELOAD_PRELOAD_DISABLE;
  if (HAL_TIM_Base_Init(&htim11) != HAL_OK)
  {
    Error_Handler();
  }
}

static void MX_TIM12_Init(void)
{

  TIM_ClockConfigTypeDef sClockSourceConfig = {0};

  htim12.Instance = TIM12;
  htim12.Init.Prescaler = 8999;
  htim12.Init.CounterMode = TIM_COUNTERMODE_UP;
  htim12.Init.Period = 239;
  htim12.Init.ClockDivision = TIM_CLOCKDIVISION_DIV1;
  htim12.Init.AutoReloadPreload = TIM_AUTORELOAD_PRELOAD_DISABLE;
  if (HAL_TIM_Base_Init(&htim12) != HAL_OK)
  {
    Error_Handler();
  }
  sClockSourceConfig.ClockSource = TIM_CLOCKSOURCE_INTERNAL;
  if (HAL_TIM_ConfigClockSource(&htim12, &sClockSourceConfig) != HAL_OK)
  {
    Error_Handler();
  }
}

static void MX_TIM13_Init(void)
{

  htim13.Instance = TIM13;
  htim13.Init.Prescaler = 8999;
  htim13.Init.CounterMode = TIM_COUNTERMODE_UP;
  htim13.Init.Period = 119;
  htim13.Init.ClockDivision = TIM_CLOCKDIVISION_DIV1;
  htim13.Init.AutoReloadPreload = TIM_AUTORELOAD_PRELOAD_DISABLE;
  if (HAL_TIM_Base_Init(&htim13) != HAL_OK)
  {
    Error_Handler();
  }
}

static void MX_TIM14_Init(void)
{

  htim14.Instance = TIM14;
  htim14.Init.Prescaler = 2399;
  htim14.Init.CounterMode = TIM_COUNTERMODE_UP;
  htim14.Init.Period = 9999;
  htim14.Init.ClockDivision = TIM_CLOCKDIVISION_DIV1;
  htim14.Init.AutoReloadPreload = TIM_AUTORELOAD_PRELOAD_DISABLE;
  if (HAL_TIM_Base_Init(&htim14) != HAL_OK)
  {
    Error_Handler();
  }
}

static void MX_UART4_Init(void)
{

  huart4.Instance = UART4;
  huart4.Init.BaudRate = 9600;
  huart4.Init.WordLength = UART_WORDLENGTH_8B;
  huart4.Init.StopBits = UART_STOPBITS_1;
  huart4.Init.Parity = UART_PARITY_NONE;
  huart4.Init.Mode = UART_MODE_RX;
  huart4.Init.HwFlowCtl = UART_HWCONTROL_NONE;
  huart4.Init.OverSampling = UART_OVERSAMPLING_16;
  huart4.Init.OneBitSampling = UART_ONE_BIT_SAMPLE_DISABLE;
  huart4.AdvancedInit.AdvFeatureInit = UART_ADVFEATURE_NO_INIT;
  if (HAL_UART_Init(&huart4) != HAL_OK)
  {
    Error_Handler();
  }
}

static void MX_UART5_Init(void)
{

  huart5.Instance = UART5;
  huart5.Init.BaudRate = 9600;
  huart5.Init.WordLength = UART_WORDLENGTH_8B;
  huart5.Init.StopBits = UART_STOPBITS_1;
  huart5.Init.Parity = UART_PARITY_NONE;
  huart5.Init.Mode = UART_MODE_TX_RX;
  huart5.Init.HwFlowCtl = UART_HWCONTROL_NONE;
  huart5.Init.OverSampling = UART_OVERSAMPLING_16;
  huart5.Init.OneBitSampling = UART_ONE_BIT_SAMPLE_DISABLE;
  huart5.AdvancedInit.AdvFeatureInit = UART_ADVFEATURE_NO_INIT;
  if (HAL_UART_Init(&huart5) != HAL_OK)
  {
    Error_Handler();
  }
}

static void MX_USART2_UART_Init(void)
{

  huart2.Instance = USART2;
  huart2.Init.BaudRate = 4800;
  huart2.Init.WordLength = UART_WORDLENGTH_8B;
  huart2.Init.StopBits = UART_STOPBITS_1;
  huart2.Init.Parity = UART_PARITY_NONE;
  huart2.Init.Mode = UART_MODE_TX_RX;
  huart2.Init.HwFlowCtl = UART_HWCONTROL_NONE;
  huart2.Init.OverSampling = UART_OVERSAMPLING_16;
  huart2.Init.OneBitSampling = UART_ONE_BIT_SAMPLE_DISABLE;
  huart2.AdvancedInit.AdvFeatureInit = UART_ADVFEATURE_NO_INIT;
  if (HAL_UART_Init(&huart2) != HAL_OK)
  {
    Error_Handler();
  }
}

static void MX_USART6_UART_Init(void)
{

  huart6.Instance = USART6;
  huart6.Init.BaudRate = 115200;
  huart6.Init.WordLength = UART_WORDLENGTH_8B;
  huart6.Init.StopBits = UART_STOPBITS_1;
  huart6.Init.Parity = UART_PARITY_NONE;
  huart6.Init.Mode = UART_MODE_TX_RX;
  huart6.Init.HwFlowCtl = UART_HWCONTROL_NONE;
  huart6.Init.OverSampling = UART_OVERSAMPLING_16;
  huart6.Init.OneBitSampling = UART_ONE_BIT_SAMPLE_DISABLE;
  huart6.AdvancedInit.AdvFeatureInit = UART_ADVFEATURE_NO_INIT;
  if (HAL_UART_Init(&huart6) != HAL_OK)
  {
    Error_Handler();
  }
}

static void MX_USB_OTG_FS_PCD_Init(void)
{

  hpcd_USB_OTG_FS.Instance = USB_OTG_FS;
  hpcd_USB_OTG_FS.Init.dev_endpoints = 6;
  hpcd_USB_OTG_FS.Init.speed = PCD_SPEED_FULL;
  hpcd_USB_OTG_FS.Init.dma_enable = DISABLE;
  hpcd_USB_OTG_FS.Init.phy_itface = PCD_PHY_EMBEDDED;
  hpcd_USB_OTG_FS.Init.Sof_enable = ENABLE;
  hpcd_USB_OTG_FS.Init.low_power_enable = DISABLE;
  hpcd_USB_OTG_FS.Init.lpm_enable = DISABLE;
  hpcd_USB_OTG_FS.Init.vbus_sensing_enable = ENABLE;
  hpcd_USB_OTG_FS.Init.use_dedicated_ep1 = DISABLE;
  if (HAL_PCD_Init(&hpcd_USB_OTG_FS) != HAL_OK)
  {
    Error_Handler();
  }
}

static void MX_DMA_Init(void)
{

  /* DMA controller clock enable */
  __HAL_RCC_DMA1_CLK_ENABLE();
  __HAL_RCC_DMA2_CLK_ENABLE();

  /* DMA interrupt init */
  /* DMA1_Stream0_IRQn interrupt configuration */
  HAL_NVIC_SetPriority(DMA1_Stream0_IRQn, 0, 0);
  HAL_NVIC_EnableIRQ(DMA1_Stream0_IRQn);
  /* DMA1_Stream2_IRQn interrupt configuration */
  HAL_NVIC_SetPriority(DMA1_Stream2_IRQn, 0, 0);
  HAL_NVIC_EnableIRQ(DMA1_Stream2_IRQn);
  /* DMA1_Stream5_IRQn interrupt configuration */
  HAL_NVIC_SetPriority(DMA1_Stream5_IRQn, 0, 0);
  HAL_NVIC_EnableIRQ(DMA1_Stream5_IRQn);
  /* DMA2_Stream1_IRQn interrupt configuration */
  HAL_NVIC_SetPriority(DMA2_Stream1_IRQn, 0, 0);
  HAL_NVIC_EnableIRQ(DMA2_Stream1_IRQn);
  /* DMA2_Stream4_IRQn interrupt configuration */
  HAL_NVIC_SetPriority(DMA2_Stream4_IRQn, 0, 0);
  HAL_NVIC_EnableIRQ(DMA2_Stream4_IRQn);
}

static void MX_GPIO_Init(void)
{
  GPIO_InitTypeDef GPIO_InitStruct = {0};

  /* GPIO Ports Clock Enable */
  __HAL_RCC_GPIOC_CLK_ENABLE();
  __HAL_RCC_GPIOF_CLK_ENABLE();
  __HAL_RCC_GPIOH_CLK_ENABLE();
  __HAL_RCC_GPIOA_CLK_ENABLE();
  __HAL_RCC_GPIOB_CLK_ENABLE();
  __HAL_RCC_GPIOE_CLK_ENABLE();
  __HAL_RCC_GPIOD_CLK_ENABLE();
  __HAL_RCC_GPIOG_CLK_ENABLE();

  /*Configure GPIO pin Output Level */
  HAL_GPIO_WritePin(GPIOF, BRIDGE_B1_Pin | BRIDGE_A2_Pin | TESTOWA_Pin | BRIDGE_A1_Pin, GPIO_PIN_RESET);

  /*Configure GPIO pin Output Level */
  HAL_GPIO_WritePin(BRIDGE_B2_GPIO_Port, BRIDGE_B2_Pin, GPIO_PIN_RESET);

  /*Configure GPIO pin Output Level */
  HAL_GPIO_WritePin(GPIOB, LD1_Pin | LD3_Pin | LD2_Pin, GPIO_PIN_RESET);

  /*Configure GPIO pin Output Level */
  HAL_GPIO_WritePin(USB_PowerSwitchOn_GPIO_Port, USB_PowerSwitchOn_Pin, GPIO_PIN_RESET);

  /*Configure GPIO pin Output Level */
  HAL_GPIO_WritePin(GPIO_ELECTROMAGNET_GPIO_Port, GPIO_ELECTROMAGNET_Pin, GPIO_PIN_RESET);

  /*Configure GPIO pin Output Level */
  HAL_GPIO_WritePin(SPI1_SS_GPIO_Port, SPI1_SS_Pin, GPIO_PIN_RESET);

  /*Configure GPIO pin : USER_Btn_Pin */
  GPIO_InitStruct.Pin = USER_Btn_Pin;
  GPIO_InitStruct.Mode = GPIO_MODE_IT_RISING_FALLING;
  GPIO_InitStruct.Pull = GPIO_NOPULL;
  HAL_GPIO_Init(USER_Btn_GPIO_Port, &GPIO_InitStruct);

  /*Configure GPIO pins : BRIDGE_B1_Pin BRIDGE_A2_Pin BRIDGE_A1_Pin */
  GPIO_InitStruct.Pin = BRIDGE_B1_Pin | BRIDGE_A2_Pin | BRIDGE_A1_Pin;
  GPIO_InitStruct.Mode = GPIO_MODE_OUTPUT_PP;
  GPIO_InitStruct.Pull = GPIO_NOPULL;
  GPIO_InitStruct.Speed = GPIO_SPEED_FREQ_LOW;
  HAL_GPIO_Init(GPIOF, &GPIO_InitStruct);

  /*Configure GPIO pin : TESTOWA_Pin */
  GPIO_InitStruct.Pin = TESTOWA_Pin;
  GPIO_InitStruct.Mode = GPIO_MODE_OUTPUT_PP;
  GPIO_InitStruct.Pull = GPIO_PULLDOWN;
  GPIO_InitStruct.Speed = GPIO_SPEED_FREQ_LOW;
  HAL_GPIO_Init(TESTOWA_GPIO_Port, &GPIO_InitStruct);

  /*Configure GPIO pin : BRIDGE_B2_Pin */
  GPIO_InitStruct.Pin = BRIDGE_B2_Pin;
  GPIO_InitStruct.Mode = GPIO_MODE_OUTPUT_PP;
  GPIO_InitStruct.Pull = GPIO_NOPULL;
  GPIO_InitStruct.Speed = GPIO_SPEED_FREQ_LOW;
  HAL_GPIO_Init(BRIDGE_B2_GPIO_Port, &GPIO_InitStruct);

  /*Configure GPIO pins : LD1_Pin LD3_Pin LD2_Pin */
  GPIO_InitStruct.Pin = LD1_Pin | LD3_Pin | LD2_Pin;
  GPIO_InitStruct.Mode = GPIO_MODE_OUTPUT_PP;
  GPIO_InitStruct.Pull = GPIO_NOPULL;
  GPIO_InitStruct.Speed = GPIO_SPEED_FREQ_LOW;
  HAL_GPIO_Init(GPIOB, &GPIO_InitStruct);

  /*Configure GPIO pin : ENCODER1_Z_Pin */
  GPIO_InitStruct.Pin = ENCODER1_Z_Pin;
  GPIO_InitStruct.Mode = GPIO_MODE_IT_RISING;
  GPIO_InitStruct.Pull = GPIO_PULLUP;
  HAL_GPIO_Init(ENCODER1_Z_GPIO_Port, &GPIO_InitStruct);

  /*Configure GPIO pin : ENCODER2_Z_Pin */
  GPIO_InitStruct.Pin = ENCODER2_Z_Pin;
  GPIO_InitStruct.Mode = GPIO_MODE_IT_RISING;
  GPIO_InitStruct.Pull = GPIO_PULLUP;
  HAL_GPIO_Init(ENCODER2_Z_GPIO_Port, &GPIO_InitStruct);

  /*Configure GPIO pins : STLK_RX_Pin STLK_TX_Pin */
  GPIO_InitStruct.Pin = STLK_RX_Pin | STLK_TX_Pin;
  GPIO_InitStruct.Mode = GPIO_MODE_AF_PP;
  GPIO_InitStruct.Pull = GPIO_NOPULL;
  GPIO_InitStruct.Speed = GPIO_SPEED_FREQ_VERY_HIGH;
  GPIO_InitStruct.Alternate = GPIO_AF7_USART3;
  HAL_GPIO_Init(GPIOD, &GPIO_InitStruct);

  /*Configure GPIO pin : USB_PowerSwitchOn_Pin */
  GPIO_InitStruct.Pin = USB_PowerSwitchOn_Pin;
  GPIO_InitStruct.Mode = GPIO_MODE_OUTPUT_PP;
  GPIO_InitStruct.Pull = GPIO_NOPULL;
  GPIO_InitStruct.Speed = GPIO_SPEED_FREQ_LOW;
  HAL_GPIO_Init(USB_PowerSwitchOn_GPIO_Port, &GPIO_InitStruct);

  /*Configure GPIO pin : USB_OverCurrent_Pin */
  GPIO_InitStruct.Pin = USB_OverCurrent_Pin;
  GPIO_InitStruct.Mode = GPIO_MODE_INPUT;
  GPIO_InitStruct.Pull = GPIO_NOPULL;
  HAL_GPIO_Init(USB_OverCurrent_GPIO_Port, &GPIO_InitStruct);

  /*Configure GPIO pin : GPIO_ELECTROMAGNET_Pin */
  GPIO_InitStruct.Pin = GPIO_ELECTROMAGNET_Pin;
  GPIO_InitStruct.Mode = GPIO_MODE_OUTPUT_PP;
  GPIO_InitStruct.Pull = GPIO_NOPULL;
  GPIO_InitStruct.Speed = GPIO_SPEED_FREQ_LOW;
  HAL_GPIO_Init(GPIO_ELECTROMAGNET_GPIO_Port, &GPIO_InitStruct);

  /*Configure GPIO pin : SPI1_SS_Pin */
  GPIO_InitStruct.Pin = SPI1_SS_Pin;
  GPIO_InitStruct.Mode = GPIO_MODE_OUTPUT_PP;
  GPIO_InitStruct.Pull = GPIO_NOPULL;
  GPIO_InitStruct.Speed = GPIO_SPEED_FREQ_LOW;
  HAL_GPIO_Init(SPI1_SS_GPIO_Port, &GPIO_InitStruct);

  /* EXTI interrupt init*/
  HAL_NVIC_SetPriority(EXTI15_10_IRQn, 0, 0);
  HAL_NVIC_EnableIRQ(EXTI15_10_IRQn);
}

void Error_Handler(void)
{
}

/************************ (C) COPYRIGHT STMicroelectronics *****END OF FILE****/
